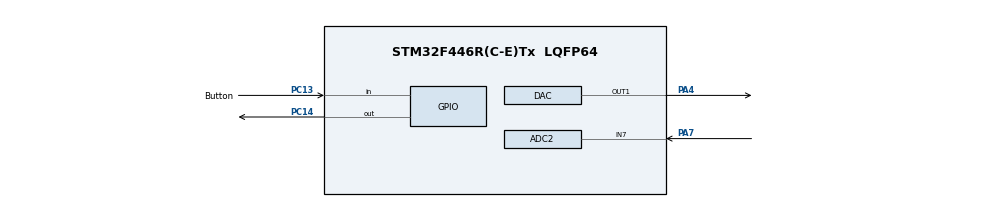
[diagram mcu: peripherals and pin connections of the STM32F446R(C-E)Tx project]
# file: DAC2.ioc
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ADC2.Channel-9\#ChannelRegularConversion=ADC_CHANNEL_7
ADC2.NbrOfConversionFlag=1
ADC2.Rank-9\#ChannelRegularConversion=1
ADC2.SamplingTime-9\#ChannelRegularConversion=ADC_SAMPLETIME_3CYCLES
Mcu.Family=STM32F4
Mcu.Name=STM32F446R(C-E)Tx
Mcu.Package=LQFP64
NVIC.PriorityGroup=NVIC_PRIORITYGROUP_4
NVIC.TIM1_UP_TIM10_IRQn=true\:0\:0\:false\:false\:true\:true
PA4.Signal=COMP_DAC1_group
PA7.Signal=ADCx_IN7
PC13.GPIO_Label=Button
PC13.Signal=GPIO_Input
PC14-OSC32_IN.Signal=GPIO_Output
ProjectManager.HeapSize=0x200
ProjectManager.StackSize=0x400
ProjectManager.TargetToolchain=MDK-ARM V5
RCC.CortexFreq_Value=16000000
RCC.USBFreq_Value=96000000
RCC.VCOOutputFreq_Value=192000000
SH.ADCx_IN7.0=ADC2_IN7,IN7
SH.COMP_DAC1_group.0=DAC_OUT1,DAC_OUT1
TIM10.Period=1
TIM10.Prescaler=181
VP_TIM10_VS_ClockSourceINT.Mode=Enable_Timer
board=custom

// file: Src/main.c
/* USER CODE BEGIN Header */
/**
  ******************************************************************************
  * @file           : main.c
  * @brief          : Main program body
  ******************************************************************************
  ** This notice applies to any and all portions of this file
  * that are not between comment pairs USER CODE BEGIN and
  * USER CODE END. Other portions of this file, whether
  * inserted by the user or by software development tools
  * are owned by their respective copyright owners.
  *
  * COPYRIGHT(c) 2019 STMicroelectronics
  *
  * Redistribution and use in source and binary forms, with or without modification,
  * are permitted provided that the following conditions are met:
  *   1. Redistributions of source code must retain the above copyright notice,
  *      this list of conditions and the following disclaimer.
  *   2. Redistributions in binary form must reproduce the above copyright notice,
  *      this list of conditions and the following disclaimer in the documentation
  *      and/or other materials provided with the distribution.
  *   3. Neither the name of STMicroelectronics nor the names of its contributors
  *      may be used to endorse or promote products derived from this software
  *      without specific prior written permission.
  *
  * THIS SOFTWARE IS PROVIDED BY THE COPYRIGHT HOLDERS AND CONTRIBUTORS "AS IS"
  * AND ANY EXPRESS OR IMPLIED WARRANTIES, INCLUDING, BUT NOT LIMITED TO, THE
  * IMPLIED WARRANTIES OF MERCHANTABILITY AND FITNESS FOR A PARTICULAR PURPOSE ARE
  * DISCLAIMED. IN NO EVENT SHALL THE COPYRIGHT HOLDER OR CONTRIBUTORS BE LIABLE
  * FOR ANY DIRECT, INDIRECT, INCIDENTAL, SPECIAL, EXEMPLARY, OR CONSEQUENTIAL
  * DAMAGES (INCLUDING, BUT NOT LIMITED TO, PROCUREMENT OF SUBSTITUTE GOODS OR
  * SERVICES; LOSS OF USE, DATA, OR PROFITS; OR BUSINESS INTERRUPTION) HOWEVER
  * CAUSED AND ON ANY THEORY OF LIABILITY, WHETHER IN CONTRACT, STRICT LIABILITY,
  * OR TORT (INCLUDING NEGLIGENCE OR OTHERWISE) ARISING IN ANY WAY OUT OF THE USE
  * OF THIS SOFTWARE, EVEN IF ADVISED OF THE POSSIBILITY OF SUCH DAMAGE.
  *
  ******************************************************************************
  */
/* USER CODE END Header */

#include "main.h"

ADC_HandleTypeDef hadc2;

DAC_HandleTypeDef hdac;

TIM_HandleTypeDef htim10;

void SystemClock_Config(void);
static void MX_GPIO_Init(void);
static void MX_DAC_Init(void);
static void MX_TIM10_Init(void);
static void MX_ADC2_Init(void);

/* USER CODE BEGIN 0 */
const int prescA = 180;
const int prescBb = 170;
const int prescB = 161;
const int prescC = 151;

const int lengthA = 101;
uint16_t sinWaveA[lengthA] = {1024, 1088, 1152, 1215, 1278, 1339, 1400, 1459, 1516, 1571,
	1624, 1675, 1723, 1769, 1811, 1851, 1887, 1920, 1949, 1975, 1996, 2015, 2029, 2039, 2045, 2047,
	2046, 2040, 2030, 2016, 1999, 1977, 1952, 1923, 1891, 1855, 1816, 1774, 1728, 1681, 1630, 1577, 1522,
	1465, 1406, 1346, 1285, 1222, 1159, 1095, 1031, 967, 903, 839, 776, 715, 654, 595, 538, 482, 429,
	378, 329, 283, 240, 201, 164, 131, 101, 75, 53, 34, 20, 9, 2, 0, 1, 6, 16, 29, 46, 67, 92, 120, 152, 188,
	227, 268, 313, 361, 411, 464, 518, 575, 634, 694, 755, 818, 881, 945, 1009};
const int lengthC = 100;
uint16_t sinWaveC[lengthC] = {1024, 1088, 1152, 1215, 1278, 1340, 1400, 1460,
	1517, 1572, 1625, 1676, 1724, 1770, 1813, 1852, 1888, 1921, 1950, 1976, 1997,
	2015, 2029, 2039, 2045, 2047, 2045, 2039, 2029, 2015, 1997, 1976, 1950, 1921, 1888, 1852,
	1812, 1770, 1724, 1676, 1625, 1572, 1517, 1459, 1400, 1340, 1278, 1215, 1152, 1088, 1023, 959,
	895, 832, 769, 707, 646, 587, 530, 475, 422, 371, 322, 277, 234, 195, 159, 126, 97, 71, 50, 32, 18, 8,
	2, 0, 2, 8, 18, 32, 50, 71, 97, 126, 159, 195, 235, 277, 323, 371, 422, 475, 530, 588, 647, 707, 769, 832, 895, 959};
const int lengthB = 41;
uint16_t sinWaveB[lengthB] = {1024, 1182, 1336, 1483, 1619, 1741,
	1845, 1930, 1992, 2032, 2047, 2038, 2004, 1947, 1868, 1768, 1651, 1518,
	1373, 1221, 1063, 904, 749, 599, 460, 335, 226, 136, 68, 23, 1, 4, 32, 83, 158, 252, 366, 495, 637, 788, 945
};
const int lengthD = 1000;

/*Learn how timers work; Modify function, maybe try to add music*/

volatile uint16_t iterator = 0;
void HAL_TIM_PeriodElapsedCallback(TIM_HandleTypeDef *htim){
	if(htim->Instance == TIM10){ // Jezeli przerwanie pochodzi od timera 10
		volatile uint16_t current_value = sinWaveC[iterator];
		if (iterator < lengthC-1) iterator++;
		else iterator = 0;

		HAL_DAC_SetValue(&hdac, DAC1_CHANNEL_1, DAC_ALIGN_12B_R, current_value);
	//	HAL_GPIO_TogglePin(GPIOD, GPIO_PIN_14);
		}
	/*INT_FREQ = TIM_CLK/(ARR+1)(PSC+1)(CKD+1) INT_FREQ - czestotliwosc generowanego przerwania.
TIM_CLK - czestotliwosc taktowania magistrali, na ktСrej umieszczony jest timer.
ARR, PSC, CKD - opisane wczesniej rejestry.*/

}
uint16_t PomiarADC;
int state = 0;

/* USER CODE END 0 */

int main(void)
{

  /* MCU Configuration--------------------------------------------------------*/

  /* Reset of all peripherals, Initializes the Flash interface and the Systick. */
  HAL_Init();

  /* Configure the system clock */
  SystemClock_Config();

  /* Initialize all configured peripherals */
  MX_GPIO_Init();
  MX_DAC_Init();
  MX_TIM10_Init();
  MX_ADC2_Init();
  /* USER CODE BEGIN 2 */
	HAL_TIM_Base_Start_IT(&htim10);
	HAL_DAC_Start(&hdac, DAC_CHANNEL_1);
	volatile uint8_t button_state = 0;
	HAL_ADC_Start(&hadc2);

  /* USER CODE END 2 */

  /* Infinite loop */
  /* USER CODE BEGIN WHILE */
	uint16_t presc[12] = {270, 260, 250, 240, 230, 220, 210, 200, 190, 180, 170, 160};

  while (1)
  {
    /* USER CODE END WHILE */

    /* USER CODE BEGIN 3 */
		 if (HAL_ADC_PollForConversion(&hadc2, 10) == HAL_OK) {
 PomiarADC = HAL_ADC_GetValue(&hadc2);
 HAL_ADC_Start(&hadc2);
	if(PomiarADC > 3100)
		state = 0;
	if (PomiarADC > 0 && PomiarADC < 10){
		state = 1;
	}
	if (PomiarADC > 200 && PomiarADC < 400) {
		state = 2;
	}
	if (PomiarADC > 600 && PomiarADC < 1100) {
	state = 3;
 }
	if (PomiarADC > 1300 && PomiarADC < 1400){
		state = 4;
	}
	if (PomiarADC > 1700 && PomiarADC < 1800) {
		state = 5;
	}
	if (PomiarADC > 2000 && PomiarADC < 2100) {
	state = 6;
 }
	if (PomiarADC > 2300 && PomiarADC < 2500){
		state = 7;
	}
	if (PomiarADC > 2700 && PomiarADC < 2800) {
		state = 8;
	}
	if (PomiarADC > 2900 && PomiarADC < 3100) {
	state = 10;
	}
	if (PomiarADC > 3300 && PomiarADC < 3500){
		state = 11;
	}
	if (PomiarADC > 3700 && PomiarADC < 3800) {
		state = 12;
	}
 }

		 TIM10->PSC = presc[state];
		if (state == 0) {
		HAL_TIM_Base_Stop(&htim10);
		}
		else HAL_TIM_Base_Start_IT(&htim10);

  }
  /* USER CODE END 3 */
}

void SystemClock_Config(void)
{
  RCC_OscInitTypeDef RCC_OscInitStruct = {0};
  RCC_ClkInitTypeDef RCC_ClkInitStruct = {0};

  /**Configure the main internal regulator output voltage
  */
  __HAL_RCC_PWR_CLK_ENABLE();
  __HAL_PWR_VOLTAGESCALING_CONFIG(PWR_REGULATOR_VOLTAGE_SCALE3);
  /**Initializes the CPU, AHB and APB busses clocks
  */
  RCC_OscInitStruct.OscillatorType = RCC_OSCILLATORTYPE_HSI;
  RCC_OscInitStruct.HSIState = RCC_HSI_ON;
  RCC_OscInitStruct.HSICalibrationValue = RCC_HSICALIBRATION_DEFAULT;
  RCC_OscInitStruct.PLL.PLLState = RCC_PLL_NONE;
  if (HAL_RCC_OscConfig(&RCC_OscInitStruct) != HAL_OK)
  {
    Error_Handler();
  }
  /**Initializes the CPU, AHB and APB busses clocks
  */
  RCC_ClkInitStruct.ClockType = RCC_CLOCKTYPE_HCLK|RCC_CLOCKTYPE_SYSCLK
                              |RCC_CLOCKTYPE_PCLK1|RCC_CLOCKTYPE_PCLK2;
  RCC_ClkInitStruct.SYSCLKSource = RCC_SYSCLKSOURCE_HSI;
  RCC_ClkInitStruct.AHBCLKDivider = RCC_SYSCLK_DIV1;
  RCC_ClkInitStruct.APB1CLKDivider = RCC_HCLK_DIV1;
  RCC_ClkInitStruct.APB2CLKDivider = RCC_HCLK_DIV1;

  if (HAL_RCC_ClockConfig(&RCC_ClkInitStruct, FLASH_LATENCY_0) != HAL_OK)
  {
    Error_Handler();
  }
}

static void MX_ADC2_Init(void)
{

  ADC_ChannelConfTypeDef sConfig = {0};

  /**Configure the global features of the ADC (Clock, Resolution, Data Alignment and number of conversion)
  */
  hadc2.Instance = ADC2;
  hadc2.Init.ClockPrescaler = ADC_CLOCK_SYNC_PCLK_DIV2;
  hadc2.Init.Resolution = ADC_RESOLUTION_12B;
  hadc2.Init.ScanConvMode = DISABLE;
  hadc2.Init.ContinuousConvMode = DISABLE;
  hadc2.Init.DiscontinuousConvMode = DISABLE;
  hadc2.Init.ExternalTrigConvEdge = ADC_EXTERNALTRIGCONVEDGE_NONE;
  hadc2.Init.ExternalTrigConv = ADC_SOFTWARE_START;
  hadc2.Init.DataAlign = ADC_DATAALIGN_RIGHT;
  hadc2.Init.NbrOfConversion = 1;
  hadc2.Init.DMAContinuousRequests = DISABLE;
  hadc2.Init.EOCSelection = ADC_EOC_SINGLE_CONV;
  if (HAL_ADC_Init(&hadc2) != HAL_OK)
  {
    Error_Handler();
  }
  /**Configure for the selected ADC regular channel its corresponding rank in the sequencer and its sample time.
  */
  sConfig.Channel = ADC_CHANNEL_7;
  sConfig.Rank = 1;
  sConfig.SamplingTime = ADC_SAMPLETIME_3CYCLES;
  if (HAL_ADC_ConfigChannel(&hadc2, &sConfig) != HAL_OK)
  {
    Error_Handler();
  }

}

static void MX_DAC_Init(void)
{

  DAC_ChannelConfTypeDef sConfig = {0};

  /**DAC Initialization
  */
  hdac.Instance = DAC;
  if (HAL_DAC_Init(&hdac) != HAL_OK)
  {
    Error_Handler();
  }
  /**DAC channel OUT1 config
  */
  sConfig.DAC_Trigger = DAC_TRIGGER_NONE;
  sConfig.DAC_OutputBuffer = DAC_OUTPUTBUFFER_ENABLE;
  if (HAL_DAC_ConfigChannel(&hdac, &sConfig, DAC_CHANNEL_1) != HAL_OK)
  {
    Error_Handler();
  }

}

static void MX_TIM10_Init(void)
{

  htim10.Instance = TIM10;
  htim10.Init.Prescaler = 181;
  htim10.Init.CounterMode = TIM_COUNTERMODE_UP;
  htim10.Init.Period = 1;
  htim10.Init.ClockDivision = TIM_CLOCKDIVISION_DIV1;
  if (HAL_TIM_Base_Init(&htim10) != HAL_OK)
  {
    Error_Handler();
  }

}

static void MX_GPIO_Init(void)
{
  GPIO_InitTypeDef GPIO_InitStruct = {0};

  /* GPIO Ports Clock Enable */
  __HAL_RCC_GPIOC_CLK_ENABLE();
  __HAL_RCC_GPIOA_CLK_ENABLE();

  /*Configure GPIO pin Output Level */
  HAL_GPIO_WritePin(GPIOC, GPIO_PIN_14, GPIO_PIN_RESET);

  /*Configure GPIO pin : Button_Pin */
  GPIO_InitStruct.Pin = Button_Pin;
  GPIO_InitStruct.Mode = GPIO_MODE_INPUT;
  GPIO_InitStruct.Pull = GPIO_NOPULL;
  HAL_GPIO_Init(Button_GPIO_Port, &GPIO_InitStruct);

  /*Configure GPIO pin : PC14 */
  GPIO_InitStruct.Pin = GPIO_PIN_14;
  GPIO_InitStruct.Mode = GPIO_MODE_OUTPUT_PP;
  GPIO_InitStruct.Pull = GPIO_NOPULL;
  GPIO_InitStruct.Speed = GPIO_SPEED_FREQ_LOW;
  HAL_GPIO_Init(GPIOC, &GPIO_InitStruct);

}

void Error_Handler(void)
{
}

/************************ (C) COPYRIGHT STMicroelectronics *****END OF FILE****/
